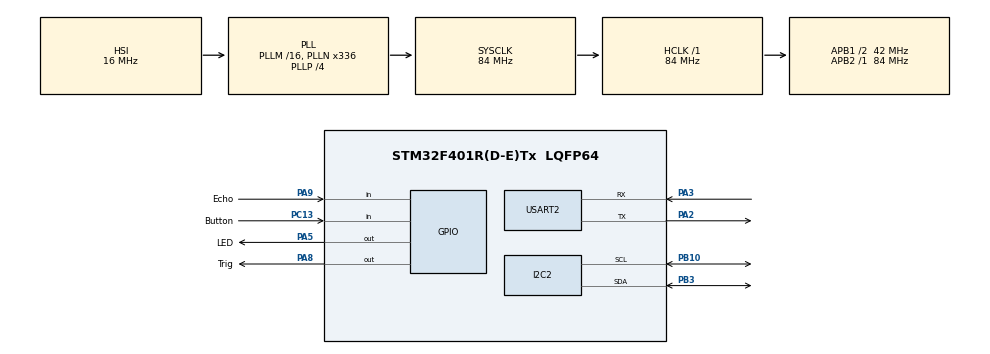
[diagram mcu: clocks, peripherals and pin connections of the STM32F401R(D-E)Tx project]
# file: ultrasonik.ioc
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Mcu.Family=STM32F4
Mcu.Name=STM32F401R(D-E)Tx
Mcu.Package=LQFP64
NVIC.PriorityGroup=NVIC_PRIORITYGROUP_0
PA2.Mode=Asynchronous
PA2.Signal=USART2_TX
PA3.Mode=Asynchronous
PA3.Signal=USART2_RX
PA5.GPIO_Label=LED
PA5.Signal=GPIO_Output
PA8.GPIO_Label=Trig
PA8.Signal=GPIO_Output
PA9.GPIO_Label=Echo
PA9.Signal=GPIO_Input
PB10.Mode=I2C
PB10.Signal=I2C2_SCL
PB3.Mode=I2C
PB3.Signal=I2C2_SDA
PC13-ANTI_TAMP.GPIO_Label=Button
PC13-ANTI_TAMP.Signal=GPIO_Input
ProjectManager.HeapSize=0x200
ProjectManager.StackSize=0x400
ProjectManager.TargetToolchain=MDK-ARM V5.32
RCC.48MHZClocksFreq_Value=48000000
RCC.AHBFreq_Value=84000000
RCC.APB1CLKDivider=RCC_HCLK_DIV2
RCC.APB1Freq_Value=42000000
RCC.APB1TimFreq_Value=84000000
RCC.APB2Freq_Value=84000000
RCC.APB2TimFreq_Value=84000000
RCC.CortexFreq_Value=84000000
RCC.HCLKFreq_Value=84000000
RCC.HSE_VALUE=8000000
RCC.HSI_VALUE=16000000
RCC.PLLN=336
RCC.PLLP=RCC_PLLP_DIV4
RCC.PLLQ=7
RCC.SYSCLKFreq_VALUE=84000000
RCC.SYSCLKSource=RCC_SYSCLKSOURCE_PLLCLK
RCC.VCOOutputFreq_Value=336000000
TIM4.Period=0
TIM4.Prescaler=84-1
USART2.VirtualMode=VM_ASYNC
VP_TIM4_VS_ClockSourceINT.Mode=Internal
board=NUCLEO-F401RE

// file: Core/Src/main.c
/* USER CODE BEGIN Header */
/**
  ******************************************************************************
  * @file           : main.c
  * @brief          : Main program body
  ******************************************************************************
  * @attention
  *
  * Copyright (c) 2022 STMicroelectronics.
  * All rights reserved.
  *
  * This software is licensed under terms that can be found in the LICENSE file
  * in the root directory of this software component.
  * If no LICENSE file comes with this software, it is provided AS-IS.
  *
  ******************************************************************************
  */
/* USER CODE END Header */
#include "main.h"

/* USER CODE BEGIN Includes */
#include <string.h>
#include <stdio.h>
#include "oled.h"
#include "fonts.h"
#include "i2c.h"
#include "test.h"
#include "bitmap.h"
/* USER CODE END Includes */

/* USER CODE BEGIN PTD */
#define usTIM TIM4
/* USER CODE END PTD */

 I2C_HandleTypeDef hi2c2;

TIM_HandleTypeDef htim4;

UART_HandleTypeDef huart2;

void SystemClock_Config(void);
static void MX_GPIO_Init(void);
static void MX_I2C2_Init(void);
static void MX_TIM4_Init(void);
static void MX_USART2_UART_Init(void);
/* USER CODE BEGIN PFP */
void usDelay(uint32_t uSec);
/* USER CODE END PFP */

/* USER CODE BEGIN 0 */
const float speedOfSound = 0.0343/2;
float distance;

char uartBuf[100];
/* USER CODE END 0 */

int main(void)
{
  /* USER CODE BEGIN 1 */
	uint32_t numTicks;
  /* USER CODE END 1 */

  /* MCU Configuration--------------------------------------------------------*/

  /* Reset of all peripherals, Initializes the Flash interface and the Systick. */
  HAL_Init();

  /* Configure the system clock */
  SystemClock_Config();

  /* Initialize all configured peripherals */
  MX_GPIO_Init();
  MX_I2C2_Init();
  MX_TIM4_Init();
  MX_USART2_UART_Init();

  /* Infinite loop */
  while (1)
  {
    HAL_GPIO_WritePin(Trig_GPIO_Port, Trig_Pin, GPIO_PIN_RESET);
		usDelay(3);

		HAL_GPIO_WritePin(Trig_GPIO_Port, Trig_Pin, GPIO_PIN_SET);
		usDelay(10);
		HAL_GPIO_WritePin(Trig_GPIO_Port, Trig_Pin, GPIO_PIN_RESET);

		while(HAL_GPIO_ReadPin(Echo_GPIO_Port, Echo_Pin) == GPIO_PIN_RESET);

		numTicks = 0;
		while(HAL_GPIO_ReadPin(Echo_GPIO_Port, Echo_Pin) == GPIO_PIN_SET)
		{
			numTicks++;
			usDelay(2);
		};

		distance = (numTicks + 0.0f)*2.8*speedOfSound;

		sprintf(uartBuf,"Mesafe (cm)     =%1.f", distance);
		HAL_UART_Transmit(&huart2,(uint8_t*)uartBuf, strlen(uartBuf),100);

		SSD1306_GotoXY(0,0);
		SSD1306_Fill(SSD1306_COLOR_BLACK);
		SSD1306_Puts(uartBuf,&Font_11x18, 1);
		SSD1306_UpdateScreen();
		HAL_Delay(1000);
  }
}

void SystemClock_Config(void)
{
  RCC_OscInitTypeDef RCC_OscInitStruct = {0};
  RCC_ClkInitTypeDef RCC_ClkInitStruct = {0};

  /** Configure the main internal regulator output voltage
  */
  __HAL_RCC_PWR_CLK_ENABLE();
  __HAL_PWR_VOLTAGESCALING_CONFIG(PWR_REGULATOR_VOLTAGE_SCALE2);

  /** Initializes the RCC Oscillators according to the specified parameters
  * in the RCC_OscInitTypeDef structure.
  */
  RCC_OscInitStruct.OscillatorType = RCC_OSCILLATORTYPE_HSI;
  RCC_OscInitStruct.HSIState = RCC_HSI_ON;
  RCC_OscInitStruct.HSICalibrationValue = RCC_HSICALIBRATION_DEFAULT;
  RCC_OscInitStruct.PLL.PLLState = RCC_PLL_ON;
  RCC_OscInitStruct.PLL.PLLSource = RCC_PLLSOURCE_HSI;
  RCC_OscInitStruct.PLL.PLLM = 16;
  RCC_OscInitStruct.PLL.PLLN = 336;
  RCC_OscInitStruct.PLL.PLLP = RCC_PLLP_DIV4;
  RCC_OscInitStruct.PLL.PLLQ = 7;
  if (HAL_RCC_OscConfig(&RCC_OscInitStruct) != HAL_OK)
  {
    Error_Handler();
  }

  /** Initializes the CPU, AHB and APB buses clocks
  */
  RCC_ClkInitStruct.ClockType = RCC_CLOCKTYPE_HCLK|RCC_CLOCKTYPE_SYSCLK
                              |RCC_CLOCKTYPE_PCLK1|RCC_CLOCKTYPE_PCLK2;
  RCC_ClkInitStruct.SYSCLKSource = RCC_SYSCLKSOURCE_PLLCLK;
  RCC_ClkInitStruct.AHBCLKDivider = RCC_SYSCLK_DIV1;
  RCC_ClkInitStruct.APB1CLKDivider = RCC_HCLK_DIV2;
  RCC_ClkInitStruct.APB2CLKDivider = RCC_HCLK_DIV1;

  if (HAL_RCC_ClockConfig(&RCC_ClkInitStruct, FLASH_LATENCY_2) != HAL_OK)
  {
    Error_Handler();
  }
}

static void MX_I2C2_Init(void)
{

  hi2c2.Instance = I2C2;
  hi2c2.Init.ClockSpeed = 100000;
  hi2c2.Init.DutyCycle = I2C_DUTYCYCLE_2;
  hi2c2.Init.OwnAddress1 = 0;
  hi2c2.Init.AddressingMode = I2C_ADDRESSINGMODE_7BIT;
  hi2c2.Init.DualAddressMode = I2C_DUALADDRESS_DISABLE;
  hi2c2.Init.OwnAddress2 = 0;
  hi2c2.Init.GeneralCallMode = I2C_GENERALCALL_DISABLE;
  hi2c2.Init.NoStretchMode = I2C_NOSTRETCH_DISABLE;
  if (HAL_I2C_Init(&hi2c2) != HAL_OK)
  {
    Error_Handler();
  }

}

static void MX_TIM4_Init(void)
{

  TIM_ClockConfigTypeDef sClockSourceConfig = {0};
  TIM_MasterConfigTypeDef sMasterConfig = {0};

  htim4.Instance = TIM4;
  htim4.Init.Prescaler = 84-1;
  htim4.Init.CounterMode = TIM_COUNTERMODE_UP;
  htim4.Init.Period = 0;
  htim4.Init.ClockDivision = TIM_CLOCKDIVISION_DIV1;
  htim4.Init.AutoReloadPreload = TIM_AUTORELOAD_PRELOAD_DISABLE;
  if (HAL_TIM_Base_Init(&htim4) != HAL_OK)
  {
    Error_Handler();
  }
  sClockSourceConfig.ClockSource = TIM_CLOCKSOURCE_INTERNAL;
  if (HAL_TIM_ConfigClockSource(&htim4, &sClockSourceConfig) != HAL_OK)
  {
    Error_Handler();
  }
  sMasterConfig.MasterOutputTrigger = TIM_TRGO_RESET;
  sMasterConfig.MasterSlaveMode = TIM_MASTERSLAVEMODE_DISABLE;
  if (HAL_TIMEx_MasterConfigSynchronization(&htim4, &sMasterConfig) != HAL_OK)
  {
    Error_Handler();
  }

}

static void MX_USART2_UART_Init(void)
{

  huart2.Instance = USART2;
  huart2.Init.BaudRate = 115200;
  huart2.Init.WordLength = UART_WORDLENGTH_8B;
  huart2.Init.StopBits = UART_STOPBITS_1;
  huart2.Init.Parity = UART_PARITY_NONE;
  huart2.Init.Mode = UART_MODE_TX_RX;
  huart2.Init.HwFlowCtl = UART_HWCONTROL_NONE;
  huart2.Init.OverSampling = UART_OVERSAMPLING_16;
  if (HAL_UART_Init(&huart2) != HAL_OK)
  {
    Error_Handler();
  }

}

static void MX_GPIO_Init(void)
{
  GPIO_InitTypeDef GPIO_InitStruct = {0};

  /* GPIO Ports Clock Enable */
  __HAL_RCC_GPIOC_CLK_ENABLE();
  __HAL_RCC_GPIOA_CLK_ENABLE();
  __HAL_RCC_GPIOB_CLK_ENABLE();

  /*Configure GPIO pin Output Level */
  HAL_GPIO_WritePin(GPIOA, LED_Pin|Trig_Pin, GPIO_PIN_RESET);

  /*Configure GPIO pin : Button_Pin */
  GPIO_InitStruct.Pin = Button_Pin;
  GPIO_InitStruct.Mode = GPIO_MODE_INPUT;
  GPIO_InitStruct.Pull = GPIO_NOPULL;
  HAL_GPIO_Init(Button_GPIO_Port, &GPIO_InitStruct);

  /*Configure GPIO pins : LED_Pin Trig_Pin */
  GPIO_InitStruct.Pin = LED_Pin|Trig_Pin;
  GPIO_InitStruct.Mode = GPIO_MODE_OUTPUT_PP;
  GPIO_InitStruct.Pull = GPIO_NOPULL;
  GPIO_InitStruct.Speed = GPIO_SPEED_FREQ_LOW;
  HAL_GPIO_Init(GPIOA, &GPIO_InitStruct);

  /*Configure GPIO pin : Echo_Pin */
  GPIO_InitStruct.Pin = Echo_Pin;
  GPIO_InitStruct.Mode = GPIO_MODE_INPUT;
  GPIO_InitStruct.Pull = GPIO_NOPULL;
  HAL_GPIO_Init(Echo_GPIO_Port, &GPIO_InitStruct);

}

/* USER CODE BEGIN 4 */
void usDelay(uint32_t uSec){
	if(uSec < 2) uSec =2;
	usTIM->ARR = uSec - 1;
	usTIM->EGR = 1;
	usTIM->SR &= ~1;
	usTIM->CR1 |= 1;
	while((usTIM->SR&0x0001)!= 1);
	usTIM->SR &= ~(0x0001);
}
/* USER CODE END 4 */

void Error_Handler(void)
{
  __disable_irq();
  while (1)
  {
  }
}
